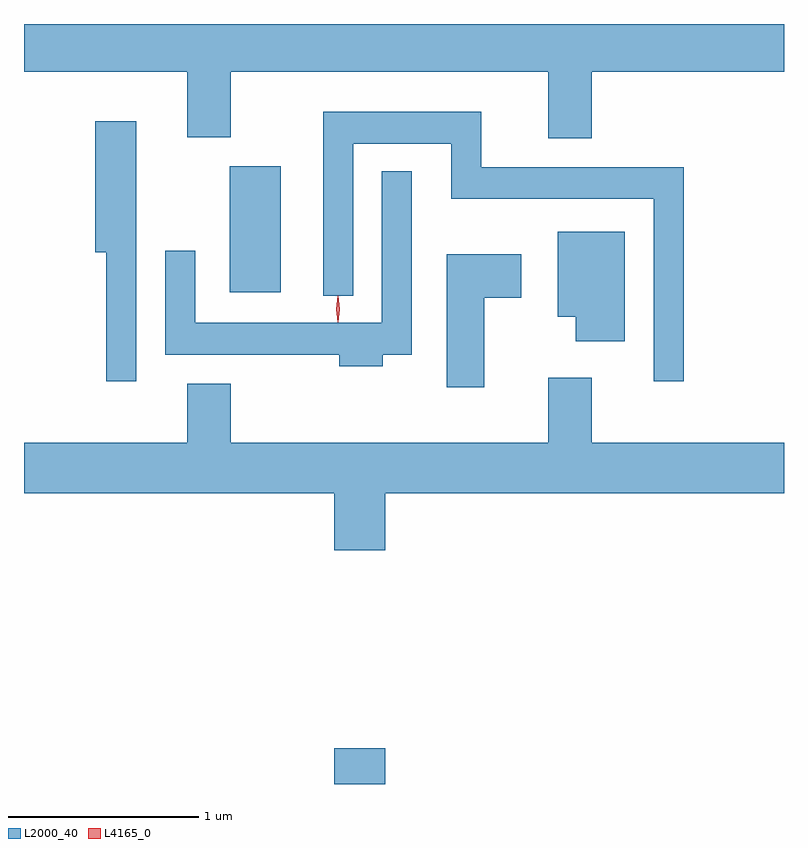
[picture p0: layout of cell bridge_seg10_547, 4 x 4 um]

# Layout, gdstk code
import gdstk
lib = gdstk.Library(unit=1e-6, precision=1e-09)
def R(c, l, rs):  # rectangles x0, y0, x1, y1
    for r in rs: c.add(gdstk.rectangle(r[:2], r[2:], *l))
def P(c, l, *ps):  # polygons
    for p in ps: c.add(gdstk.Polygon(p, *l))
L2000_40 = (2000, 40)
L4165_0 = (4165, 0)

bridge_seg10_547 = lib.new_cell('bridge_seg10_547')
R(bridge_seg10_547, L2000_40, [(794.496,2172.327,794.764,2172.514), (793.946,2174.916,794.214,2175.579)])
P(bridge_seg10_547, L2000_40, [(795.849,2176.076),(796.862,2176.076),(796.862,2176.327),(792.862,2176.327),(792.862,2176.076),(793.721,2176.076),(793.721,2175.731),(793.949,2175.731),(793.949,2176.076),(795.621,2176.076),(795.621,2175.726),(795.849,2175.726)],
  [(796.334,2175.574),(795.269,2175.574),(795.269,2175.864),(794.436,2175.864),(794.436,2174.898),(794.594,2174.898),(794.594,2175.696),(795.111,2175.696),(795.111,2175.406),(796.176,2175.406),(796.176,2174.448),(796.334,2174.448)],
  [(793.454,2175.814),(793.236,2175.814),(793.236,2175.126),(793.296,2175.126),(793.296,2174.448),(793.454,2174.448)],
  [(794.749,2174.586),(794.904,2174.586),(794.904,2175.553),(794.746,2175.553),(794.746,2174.754),(793.764,2174.754),(793.764,2175.133),(793.606,2175.133),(793.606,2174.586),(794.521,2174.586),(794.521,2174.526),(794.749,2174.526)],
  [(796.024,2175.234),(795.671,2175.234),(795.671,2174.786),(795.766,2174.786),(795.766,2174.656),(796.024,2174.656)],
  [(795.284,2174.886),(795.479,2174.886),(795.479,2175.114),(795.086,2175.114),(795.086,2174.416),(795.284,2174.416)],
  [(794.764,2173.856),(796.862,2173.856),(796.862,2174.124),(795.849,2174.124),(795.849,2174.464),(795.621,2174.464),(795.621,2174.124),(793.949,2174.124),(793.949,2174.434),(793.721,2174.434),(793.721,2174.124),(792.862,2174.124),(792.862,2173.856),(794.496,2173.856),(794.496,2173.556),(794.764,2173.556)])
P(bridge_seg10_547, L4165_0, [(794.514,2174.757),(794.505,2174.826),(794.514,2174.896),(794.515,2174.896),(794.515,2174.896),(794.525,2174.826),(794.515,2174.757),(794.515,2174.757)],
  [(794.515,2174.759),(794.514,2174.76),(794.505,2174.826),(794.514,2174.892),(794.515,2174.893),(794.515,2174.892),(794.525,2174.826),(794.515,2174.76)])

lib.write_gds('bridge_seg10_547.gds')
